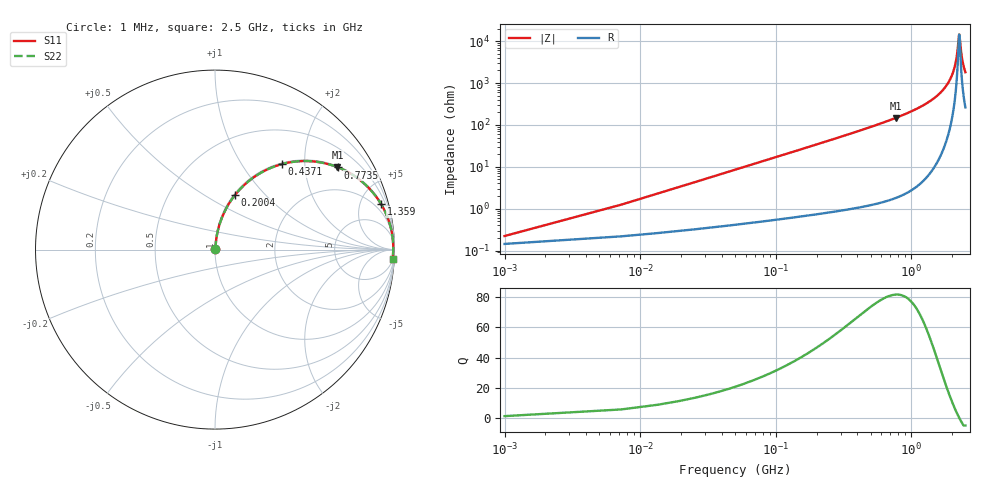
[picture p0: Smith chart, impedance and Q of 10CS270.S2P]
! Coilcraft 1008CS-270 Chip Inductor
! 02 July 2002
# MHZ S MA R 50
!Freq  MagS11  AngS11  MagS21  AngS21  MagS12  AngS12  MagS22  AngS22
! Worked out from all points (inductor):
!   403 points, 1 MHz to 2.5 GHz, reference 50 ohm
!   read as one part in series: L = 27 nH near 13.46 MHz
!   highest Q = 81.7 at 767.3 MHz (marker M1), where L = 30.5 nH
!   self-resonance near 2.25 GHz
!   S11 on the Smith chart (normalised r, x): 1 MHz: 1.00, +0.00; 200.4 MHz: 1.01, +0.69; 437.1 MHz: 1.02, +1.54; 773.5 MHz: 1.04, +2.98; 1.359 GHz: 1.13, +7.25; 2.5 GHz: 6, -36
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1  0.002223 49.6  0.9986 -0.1  0.9986 -0.1  0.002223 49.6
19.69  0.03342 83.0  0.9965 -1.9  0.9965 -1.9  0.03342 83.0
32.15  0.05439 83.2  0.995 -3.1  0.995 -3.1  0.05439 83.2
50.84  0.08572 82.3  0.9922 -4.9  0.9922 -4.9  0.08572 82.3
106.91  0.178 78.0  0.9786 -10.2  0.9786 -10.2  0.178 78.0
200.36  0.3221 70.0  0.9398 -18.8  0.9398 -18.8  0.3221 70.0
418.41  0.5883 53.1  0.8001 -36.0  0.8001 -36.0  0.5883 53.1
437.1  0.6062 51.9  0.7866 -37.3  0.7866 -37.3  0.6062 51.9
767.29  0.8226 34.0  0.5586 -55.3  0.5586 -55.3  0.8226 34.0
773.52  0.8253 33.7  0.5547 -55.6  0.5547 -55.6  0.8253 33.7
835.82  0.8498 31.1  0.5168 -58.2  0.5168 -58.2  0.8498 31.1
1253.23  0.9466 17.9  0.3074 -71.2  0.3074 -71.2  0.9466 17.9
1359.14  0.9595 15.3  0.2646 -73.6  0.2646 -73.6  0.9595 15.3
1670.64  0.9826 9.0  0.156 -79.1  0.156 -79.1  0.9826 9.0
1919.84  0.9908 4.8  0.08336 -81.3  0.08336 -81.3  0.9908 4.8
2088.05  0.9929 2.3  0.03989 -78.7  0.03989 -78.7  0.9929 2.3
2162.81  0.9932 1.2  0.02208 -71.6  0.02208 -71.6  0.9932 1.2
2250.03  0.9931 0.0  0.00688 -4.5  0.00688 -4.5  0.9931 0.0
2268.72  0.9931 -0.2  0.007883 28.2  0.007883 28.2  0.9931 -0.2
2318.56  0.9928 -0.9  0.01665 63.8  0.01665 63.8  0.9928 -0.9
2362.17  0.9924 -1.4  0.02578 72.1  0.02578 72.1  0.9924 -1.4
2500  0.9906 -3.1  0.05472 78.6  0.05472 78.6  0.9906 -3.1
